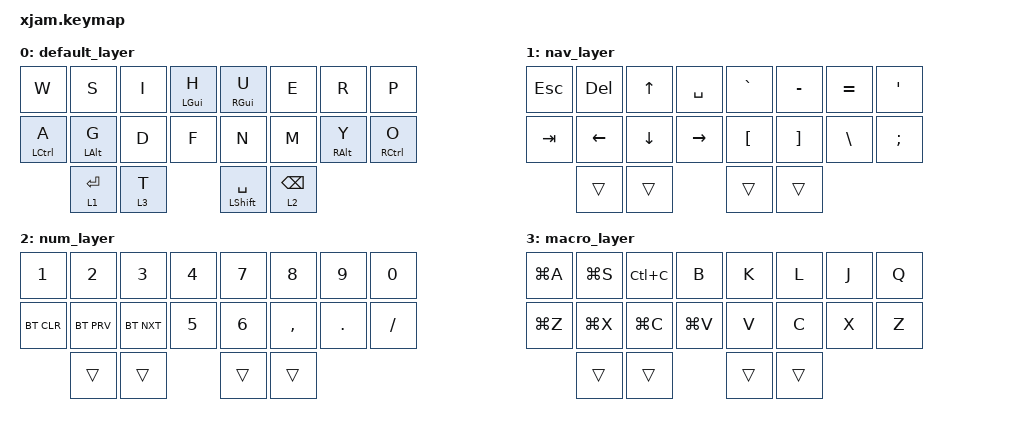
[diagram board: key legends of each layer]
#include <behaviors.dtsi>
#include <dt-bindings/zmk/keys.h>
#include <dt-bindings/zmk/bt.h>

/ {

    behaviors {
        hm: homerow_mods {
            compatible = "zmk,behavior-hold-tap";
            label = "homerow mods";
            #binding-cells = <2>;
            tapping_term_ms = <225>;
            flavor = "tap-preferred";
            bindings = <&kp>, <&kp>;
        };
    };

    combos {
        compatible = "zmk,combos";
        combo_l {
            timeout-ms = <50>;
            key-positions = <5 6>;
            bindings = <&kp L>;
        };

        combo_c {
            timeout-ms = <50>;
            key-positions = <9 10>;
            bindings = <&kp C>;
        };

        combo_b {
            timeout-ms = <50>;
            key-positions = <10 11>;
            bindings = <&kp B>;
        };

        combo_enter {
            timeout-ms = <50>;
            key-positions = <7 15>;
            bindings = <&kp ENTER>;
        };
    };

    keymap {
        compatible = "zmk,keymap";

        default_layer {
            bindings = <
                                           
                &kp W    &kp S       &kp I       &hm LGUI H             &hm RGUI U   &kp E   &kp R  &kp P
                &hm LCTRL A         &hm LALT G  &kp D  &kp F         &kp N  &kp M     &hm RALT Y   &hm RCTRL  O                             
                                &lt 1 ENTER    &lt 3  T        &hm LSHFT SPACE  &lt 2 BSPC                             
            >;
        };

        nav_layer {
            bindings = <
                &kp ESC   &kp DEL   &kp UP   &kp SPACE                 &kp GRAVE  &kp MINUS   &kp EQUAL    &kp SINGLE_QUOTE                               
                &kp TAB   &kp LEFT   &kp DOWN   &kp RIGHT        &kp LBKT   &kp RBKT   &kp  BSLH     &kp SEMICOLON                          
                                &trans   &trans                     &trans   &trans                          
            >;
        };

        num_layer {
            bindings = <
                &kp N1  &kp N2   &kp N3   &kp N4        &kp N7  &kp N8   &kp N9   &kp N0                               
                &bt BT_CLR  &bt BT_PRV   &bt BT_NXT   &kp N5        &kp N6  &kp COMMA   &kp DOT   &kp FSLH                            
                                &trans   &trans                     &trans   &trans                         
            >;
        };

        macro_layer {
            bindings = <
                &kp LG(A)  &kp LG(S)   &kp LC(C)   &kp B              &kp K   &kp L  &kp J &kp Q                             
                &kp LG(Z)  &kp LG(X)   &kp LG(C)   &kp LG(V)        &kp V  &kp C   &kp X   &kp Z                            
                               &trans   &trans                     &trans   &trans                            
            >;
        };


    };
};
